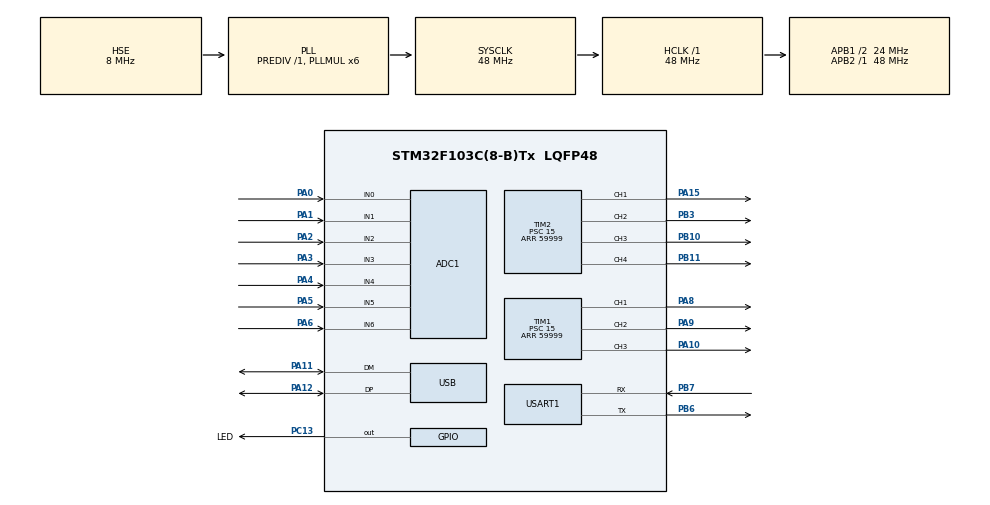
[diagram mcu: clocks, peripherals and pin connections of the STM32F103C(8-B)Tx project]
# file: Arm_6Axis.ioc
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ADC1.Channel-0\#ChannelRegularConversion=ADC_CHANNEL_0
ADC1.NbrOfConversionFlag=1
ADC1.Rank-0\#ChannelRegularConversion=1
ADC1.SamplingTime-0\#ChannelRegularConversion=ADC_SAMPLETIME_71CYCLES_5
ADC1.master=1
Mcu.Family=STM32F1
Mcu.Name=STM32F103C(8-B)Tx
Mcu.Package=LQFP48
NVIC.PriorityGroup=NVIC_PRIORITYGROUP_4
NVIC.USART1_IRQn=true\:1\:0\:false\:false\:true\:true\:true\:true
NVIC.USB_LP_CAN1_RX0_IRQn=true\:0\:0\:false\:false\:true\:false\:true\:true
PA0-WKUP.Signal=ADCx_IN0
PA1.Signal=ADCx_IN1
PA10.Signal=S_TIM1_CH3
PA11.Mode=Device
PA11.Signal=USB_DM
PA12.Mode=Device
PA12.Signal=USB_DP
PA13.Mode=Serial_Wire
PA13.Signal=SYS_JTMS-SWDIO
PA14.Mode=Serial_Wire
PA14.Signal=SYS_JTCK-SWCLK
PA15.Signal=S_TIM2_CH1_ETR
PA2.Signal=ADCx_IN2
PA3.Signal=ADCx_IN3
PA4.Signal=ADCx_IN4
PA5.Signal=ADCx_IN5
PA6.Signal=ADCx_IN6
PA8.Signal=S_TIM1_CH1
PA9.Signal=S_TIM1_CH2
PB10.Signal=S_TIM2_CH3
PB11.Signal=S_TIM2_CH4
PB3.Signal=S_TIM2_CH2
PB6.Mode=Asynchronous
PB6.Signal=USART1_TX
PB7.Mode=Asynchronous
PB7.Signal=USART1_RX
PC13-TAMPER-RTC.GPIO_Label=LED
PC13-TAMPER-RTC.PinState=GPIO_PIN_SET
PC13-TAMPER-RTC.Signal=GPIO_Output
PD0-OSC_IN.Mode=HSE-External-Oscillator
PD0-OSC_IN.Signal=RCC_OSC_IN
PD1-OSC_OUT.Mode=HSE-External-Oscillator
PD1-OSC_OUT.Signal=RCC_OSC_OUT
ProjectManager.HeapSize=0x200
ProjectManager.StackSize=0x400
ProjectManager.TargetToolchain=STM32CubeIDE
RCC.ADCPresc=RCC_ADCPCLK2_DIV4
RCC.AHBFreq_Value=48000000
RCC.APB1CLKDivider=RCC_HCLK_DIV2
RCC.APB1Freq_Value=24000000
RCC.APB1TimFreq_Value=48000000
RCC.APB2Freq_Value=48000000
RCC.APB2TimFreq_Value=48000000
RCC.HCLKFreq_Value=48000000
RCC.PLLMUL=RCC_PLL_MUL6
RCC.PLLSourceVirtual=RCC_PLLSOURCE_HSE
RCC.SYSCLKFreq_VALUE=48000000
RCC.SYSCLKSource=RCC_SYSCLKSOURCE_PLLCLK
RCC.USBFreq_Value=48000000
SH.ADCx_IN0.0=ADC1_IN0,IN0
SH.ADCx_IN1.0=ADC1_IN1,IN1
SH.ADCx_IN2.0=ADC1_IN2,IN2
SH.ADCx_IN3.0=ADC1_IN3,IN3
SH.ADCx_IN4.0=ADC1_IN4,IN4
SH.ADCx_IN5.0=ADC1_IN5,IN5
SH.ADCx_IN6.0=ADC1_IN6,IN6
SH.S_TIM1_CH1.0=TIM1_CH1,PWM Generation1 CH1
SH.S_TIM1_CH2.0=TIM1_CH2,PWM Generation2 CH2
SH.S_TIM1_CH3.0=TIM1_CH3,PWM Generation3 CH3
SH.S_TIM2_CH1_ETR.0=TIM2_CH1,PWM Generation1 CH1
SH.S_TIM2_CH2.0=TIM2_CH2,PWM Generation2 CH2
SH.S_TIM2_CH3.0=TIM2_CH3,PWM Generation3 CH3
SH.S_TIM2_CH4.0=TIM2_CH4,PWM Generation4 CH4
TIM1.Channel-PWM\ Generation1\ CH1=TIM_CHANNEL_1
TIM1.Channel-PWM\ Generation2\ CH2=TIM_CHANNEL_2
TIM1.Channel-PWM\ Generation3\ CH3=TIM_CHANNEL_3
TIM1.Period=59999
TIM1.Prescaler=15
TIM2.Channel-PWM\ Generation1\ CH1=TIM_CHANNEL_1
TIM2.Channel-PWM\ Generation2\ CH2=TIM_CHANNEL_2
TIM2.Channel-PWM\ Generation3\ CH3=TIM_CHANNEL_3
TIM2.Channel-PWM\ Generation4\ CH4=TIM_CHANNEL_4
TIM2.Period=59999
TIM2.Prescaler=15
USART1.VirtualMode=VM_ASYNC
USB_DEVICE.CLASS_NAME_FS=CDC
USB_DEVICE.VirtualMode=Cdc
USB_DEVICE.VirtualModeFS=Cdc_FS
VP_USB_DEVICE_VS_USB_DEVICE_CDC_FS.Mode=CDC_FS
board=custom

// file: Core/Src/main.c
/* USER CODE BEGIN Header */
/**
  ******************************************************************************
  * @file           : main.c
  * @brief          : Main program body
  ******************************************************************************
  * @attention
  *
  * Copyright (c) 2026 STMicroelectronics.
  * All rights reserved.
  *
  * This software is licensed under terms that can be found in the LICENSE file
  * in the root directory of this software component.
  * If no LICENSE file comes with this software, it is provided AS-IS.
  *
  ******************************************************************************
  */
/* USER CODE END Header */
#include "main.h"
#include "adc.h"
#include "tim.h"
#include "usart.h"
#include "usb_device.h"
#include "gpio.h"

/* USER CODE BEGIN Includes */
#include "arm.h"
#include "adc_io.h"
#include "uart_io.h"
#include "usb_io.h"
#include "arm_protocol.h"
/* USER CODE END Includes */

/* USER CODE BEGIN PM */
/*
               _ooOoo_
              o8888888o
              88" . "88
              (| -_- |)
              O\  =  /O
           ____/`---'\____
         .'  \\|     |//  `.
        /  \\|||  :  |||//  \
        /  _||||| -:- |||||-  \
        |   | \\\  -  /// |   |
       | \_|  ''\---/''  |   |
       \  .-\__  `-`  ___/-. /
     ___`. .'  /--.--\  `. . __
    ."" '<  `.___\_<|>_/___.'  >'"".
    | | :  `- \`.;`\ _ /`;.`/ - ` : | |
    \  \ `-.   \_ __\ /__ _/   .-` /  /
======`-.____`-.___\_____/___.-`____.-'======
               `=---='
^^^^^^^^^^^^^^^^^^^^^^^^^^^^^^^^^^^^^^^^^^^^^
        佛祖保佑           永无BUG
*/
/* USER CODE END PM */

void SystemClock_Config(void);

int main(void)
{

  /* MCU Configuration--------------------------------------------------------*/

  /* Reset of all peripherals, Initializes the Flash interface and the Systick. */
  HAL_Init();

  /* Configure the system clock */
  SystemClock_Config();

  /* Initialize all configured peripherals */
  MX_GPIO_Init();
  MX_ADC1_Init();
  MX_TIM1_Init();
  MX_TIM2_Init();
  MX_USART1_UART_Init();
  MX_USB_DEVICE_Init();
  /* USER CODE BEGIN 2 */
  ADC_Init();
  UART_Init();
  Arm_Init();
  uint32_t arm_tick = HAL_GetTick();

  /* 七路 PWM 默认关闭，需显式使能后才输出
   * 标定完成后可参考以下用法
   * Servo_SetTarget(&arm_servos[ARM_SERVO_H3], 135.0f);
   * Servo_Enable(&arm_servos[ARM_SERVO_H3], 1U);
   * Arm_Enable(1U);  // 使能六轴，备用 H10 仍保持关闭
   */
  /* USER CODE END 2 */

  /* Infinite loop */
  /* USER CODE BEGIN WHILE */
  while (1)
  {
      HAL_GPIO_WritePin(GPIOC, GPIO_PIN_13, GPIO_PIN_RESET);

    Servo_t *joint = &arm_servos[ARM_SERVO_H3 ];

    Servo_SetClosedLoop(joint, 0U);  // 反馈尚未标定，先关闭外环
    Servo_SetTarget(joint, 135.0f);  // 设置中位
    Servo_Enable(joint, 1U);        // 开始输出 PWM

    /* USER CODE END WHILE */

    /* USER CODE BEGIN 3 */
    uint32_t now = HAL_GetTick();
    if ((uint32_t)(now - arm_tick) >= SERVO_CONTROL_PERIOD_MS) {
      arm_tick = now;
      Arm_Update();
    }

    /* 后续在此接入上位机协议解析，下面两个读取接口均不阻塞
     * uint8_t bytes[64];
     * uint16_t count = USB_Read(bytes, sizeof(bytes));
     * count = UART_Read(bytes, sizeof(bytes));
     * 将各自的字节流分别送入后续的 arm_protocol 解析器
     */
    HAL_Delay(1);
  }
  /* USER CODE END 3 */
}

void SystemClock_Config(void)
{
  RCC_OscInitTypeDef RCC_OscInitStruct = {0};
  RCC_ClkInitTypeDef RCC_ClkInitStruct = {0};
  RCC_PeriphCLKInitTypeDef PeriphClkInit = {0};

  /** Initializes the RCC Oscillators according to the specified parameters
  * in the RCC_OscInitTypeDef structure.
  */
  RCC_OscInitStruct.OscillatorType = RCC_OSCILLATORTYPE_HSE;
  RCC_OscInitStruct.HSEState = RCC_HSE_ON;
  RCC_OscInitStruct.HSEPredivValue = RCC_HSE_PREDIV_DIV1;
  RCC_OscInitStruct.HSIState = RCC_HSI_ON;
  RCC_OscInitStruct.PLL.PLLState = RCC_PLL_ON;
  RCC_OscInitStruct.PLL.PLLSource = RCC_PLLSOURCE_HSE;
  RCC_OscInitStruct.PLL.PLLMUL = RCC_PLL_MUL6;
  if (HAL_RCC_OscConfig(&RCC_OscInitStruct) != HAL_OK)
  {
    Error_Handler();
  }

  /** Initializes the CPU, AHB and APB buses clocks
  */
  RCC_ClkInitStruct.ClockType = RCC_CLOCKTYPE_HCLK|RCC_CLOCKTYPE_SYSCLK
                              |RCC_CLOCKTYPE_PCLK1|RCC_CLOCKTYPE_PCLK2;
  RCC_ClkInitStruct.SYSCLKSource = RCC_SYSCLKSOURCE_PLLCLK;
  RCC_ClkInitStruct.AHBCLKDivider = RCC_SYSCLK_DIV1;
  RCC_ClkInitStruct.APB1CLKDivider = RCC_HCLK_DIV2;
  RCC_ClkInitStruct.APB2CLKDivider = RCC_HCLK_DIV1;

  if (HAL_RCC_ClockConfig(&RCC_ClkInitStruct, FLASH_LATENCY_1) != HAL_OK)
  {
    Error_Handler();
  }
  PeriphClkInit.PeriphClockSelection = RCC_PERIPHCLK_ADC|RCC_PERIPHCLK_USB;
  PeriphClkInit.AdcClockSelection = RCC_ADCPCLK2_DIV4;
  PeriphClkInit.UsbClockSelection = RCC_USBCLKSOURCE_PLL;
  if (HAL_RCCEx_PeriphCLKConfig(&PeriphClkInit) != HAL_OK)
  {
    Error_Handler();
  }
}

void Error_Handler(void)
{
  __disable_irq();
  while (1)
  {
  }
}
